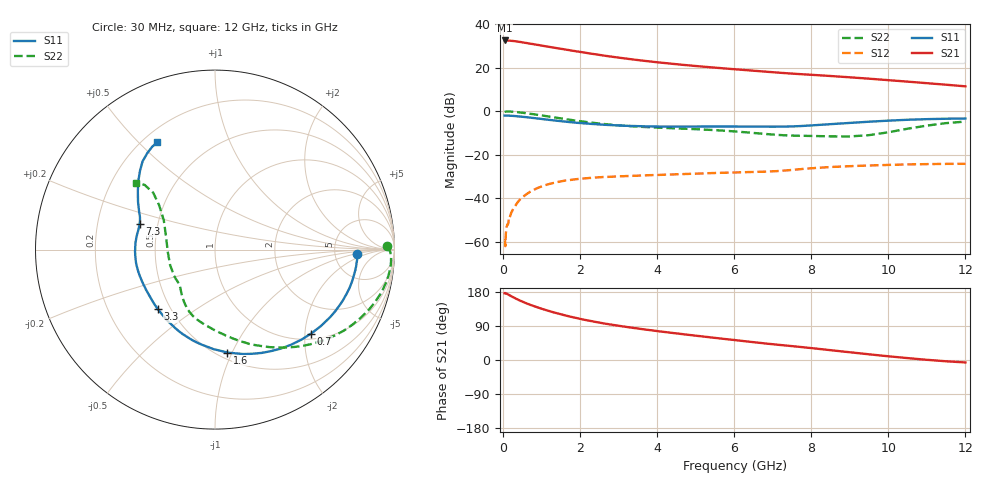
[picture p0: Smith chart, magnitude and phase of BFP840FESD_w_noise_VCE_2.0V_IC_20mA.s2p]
! Infineon Technologies  Discrete & RF Semiconductors
! BFP840FESD
! VCE =  2.0 V,  IC =  20 mA
! Common Emitter S-Parameters:  May 2012
# GHz  S  MA  R  50
!  f  S11  S21  S12  S22
! GHz  MAG  ANG  MAG  ANG  MAG  ANG  MAG  ANG
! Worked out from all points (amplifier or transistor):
!   103 points, 30 MHz to 12 GHz, reference 50 ohm
!   highest |S21| = 32.5 dB at 30 MHz (marker M1)
!   |S21| within 3 dB of that: start of sweep to 1.212 GHz
!   unconditionally stable (mu >= 1): 5.874 GHz to end of sweep
!   at 400 MHz: K = 0.17, MSG = 36.5 dB, |S12| = -41.1 dB
!   at 3.7 GHz: K = 0.73, MSG = 26.2 dB, |S12| = -29.4 dB
!   at 12 GHz: K = 1.09, MAG = 15.9 dB, |S12| = -24.2 dB
!   lowest NFmin = 0.89 dB at 450 MHz
!   S11 on the Smith chart (normalised r, x): 30 MHz: 8.51, -1.08; 700 MHz: 1.13, -2.15; 1.6 GHz: 0.56, -0.96; 3.3 GHz: 0.43, -0.36; 7.3 GHz: 0.39, +0.14; 12 GHz: 0.26, +0.57
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0.03  0.7926 -1.7  41.99 176.0  0.0011 72.0  0.9598 1.1
0.04  0.7927 -2.4  41.96 175.6  0.0011 78.8  0.9678 0.3
0.05  0.7918 -3.0  41.93 176.7  0.0008 81.6  0.9729 -0.3
0.15  0.7884 -9.5  41.58 171.3  0.0034 80.4  0.982 -6.0
0.25  0.7797 -15.8  40.85 165.8  0.0057 78.4  0.9705 -10.9
0.4  0.7587 -24.7  39.19 158.2  0.0088 75.2  0.9419 -17.4
0.6  0.7275 -35.9  36.66 149.4  0.0125 69.6  0.8962 -25.1
0.7  0.7111 -41.2  35.4 145.5  0.0143 67.0  0.8721 -28.7
0.9  0.6781 -51.5  33.1 138.4  0.0175 62.6  0.8224 -35.5
1.1  0.646 -61.1  30.86 131.9  0.0203 58.0  0.7736 -41.7
1.3  0.6164 -70.3  28.85 125.8  0.0226 54.0  0.7263 -47.6
1.6  0.5777 -83.1  26.14 117.8  0.0256 49.1  0.6613 -55.7
2.1  0.526 -101.6  22.15 106.2  0.0287 42.7  0.5733 -67.8
2.6  0.4903 -116.8  18.95 96.7  0.0309 38.7  0.5097 -77.8
3.3  0.4595 -134.0  15.63 85.7  0.0327 35.5  0.4527 -89.2
4.1  0.4446 -150.1  12.99 75.0  0.0346 34.2  0.4165 -99.5
5  0.4448 -164.7  10.88 64.1  0.0369 33.8  0.3862 -109.2
6.1  0.4447 179.8  9.045 51.5  0.0395 33.8  0.3383 -120.7
7.3  0.4436 161.2  7.489 38.6  0.0435 37.3  0.28 -134.9
8.5  0.5046 148.2  6.419 25.9  0.0524 35.2  0.2645 -161.1
10.5  0.6359 129.4  4.767 5.0  0.0601 27.9  0.3966 141.6
12  0.679 118.2  3.719 -6.5  0.062 25.0  0.5777 140.0
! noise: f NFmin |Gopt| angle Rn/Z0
0.45  0.89  0.1  3  0.13
0.9  0.92  0.1  10  0.14
1.5  0.93  0.09  16  0.13
1.9  0.94  0.08  31  0.13
2.4  0.94  0.08  51  0.14
3.5  0.94  0.08  87  0.14
5.5  1  0.08  160  0.12
8  1.1  0.11  -155  0.14
10  1.2  0.28  -116  0.17
12  1.39  0.44  -101  0.2
